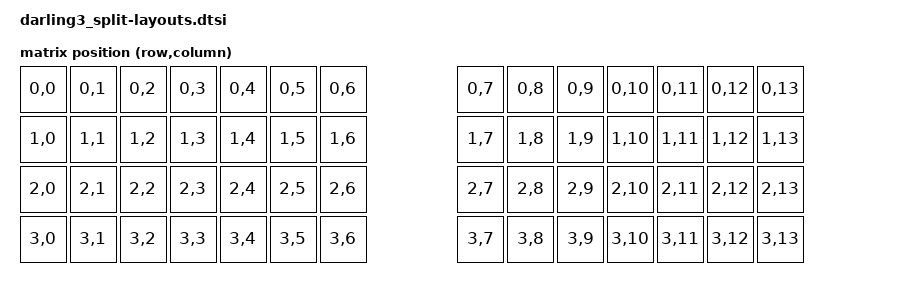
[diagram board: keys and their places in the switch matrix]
/* DarlingV2 - только мех-свичи 4×7, без HE */

#include <dt-bindings/zmk/matrix_transform.h>
#include <physical_layouts.dtsi>

/ {
    chosen {
        zmk,kscan = &kscan_darling;
        zmk,physical-layout = &physical_layout0;
    };

    /* Each half scans 4x7; the shared logical matrix is 4x14. */
    kscan_darling: kscan_darling0 {
        compatible = "zmk,kscan-gpio-matrix";
        wakeup-source;
        diode-direction = "col2row";
        /* col-gpios и row-gpios в overlay */
    };

    physical_layout0: physical_layout_0 {
        compatible = "zmk,physical-layout";
        display-name = "Darling3 Default";
        kscan = <&kscan_darling>;
        transform = <&default_transform>;
        
        /* Ordered like the keymap: left columns 0-6, then right 7-13. */
        keys =
            /* JSON rows 2 and 3 */
            <&key_physical_attrs 100 100   50 138 0   0   0>
            , <&key_physical_attrs 100 100 150 138 0   0   0>
            , <&key_physical_attrs 100 100 250 138 0   0   0>
            , <&key_physical_attrs 100 100 350 138 0   0   0>
            , <&key_physical_attrs 100 100 450 138 0   0   0>
            , <&key_physical_attrs 100 100 550 138 0   0   0>
            , <&key_physical_attrs 100 100 650 138 0   0   0>
            , <&key_physical_attrs 100 100  925 138 0   0   0>
            , <&key_physical_attrs 100 100 1025 138 0   0   0>
            , <&key_physical_attrs 100 100 1125 138 0   0   0>
            , <&key_physical_attrs 100 100 1225 138 0   0   0>
            , <&key_physical_attrs 100 100 1325 138 0   0   0>
            , <&key_physical_attrs 100 100 1425 138 0   0   0>
            , <&key_physical_attrs 100 100 1525 138 0   0   0>

            /* JSON rows 4 and 5 */
            , <&key_physical_attrs 100 100   50 238 0   0   0>
            , <&key_physical_attrs 100 100 150 238 0   0   0>
            , <&key_physical_attrs 100 100 250 238 0   0   0>
            , <&key_physical_attrs 100 100 350 238 0   0   0>
            , <&key_physical_attrs 100 100 450 238 0   0   0>
            , <&key_physical_attrs 100 100 550 238 0   0   0>
            , <&key_physical_attrs 100 100 650 238 0   0   0>
            , <&key_physical_attrs 100 100  925 238 0   0   0>
            , <&key_physical_attrs 100 100 1025 238 0   0   0>
            , <&key_physical_attrs 100 100 1125 238 0   0   0>
            , <&key_physical_attrs 100 100 1225 238 0   0   0>
            , <&key_physical_attrs 100 100 1325 238 0   0   0>
            , <&key_physical_attrs 100 100 1425 238 0   0   0>
            , <&key_physical_attrs 100 100 1525 238 0   0   0>

            /* JSON rows 6 and 7 */
            , <&key_physical_attrs 100 100   50 338 0   0   0>
            , <&key_physical_attrs 100 100 150 338 0   0   0>
            , <&key_physical_attrs 100 100 250 338 0   0   0>
            , <&key_physical_attrs 100 100 350 338 0   0   0>
            , <&key_physical_attrs 100 100 450 338 0   0   0>
            , <&key_physical_attrs 100 100 550 338 0   0   0>
            , <&key_physical_attrs 100 100 650 338 0 650 425>
            , <&key_physical_attrs 100 100  925 338 0   0   0>
            , <&key_physical_attrs 100 100 1025 338 0   0   0>
            , <&key_physical_attrs 100 100 1125 338 0   0   0>
            , <&key_physical_attrs 100 100 1225 338 0   0   0>
            , <&key_physical_attrs 100 100 1325 338 0   0   0>
            , <&key_physical_attrs 100 100 1425 338 0   0   0>
            , <&key_physical_attrs 100 100 1525 338 0 650 425>

            /* JSON rows 8 and 9 */
            , <&key_physical_attrs 100 100   50 438 0   0   0>
            , <&key_physical_attrs 100 100 150 438 0   0   0>
            , <&key_physical_attrs 100 100 250 438 0   0   0>
            , <&key_physical_attrs 100 100 350 438 0   0   0>
            , <&key_physical_attrs 100 100 450 438 0   0   0>
            , <&key_physical_attrs 100 100 550 438 0 650 425>
            , <&key_physical_attrs 100 100 650 438 0 650 425>
            , <&key_physical_attrs 100 100  925 438 0   0   0>
            , <&key_physical_attrs 100 100 1025 438 0   0   0>
            , <&key_physical_attrs 100 100 1125 438 0   0   0>
            , <&key_physical_attrs 100 100 1225 438 0   0   0>
            , <&key_physical_attrs 100 100 1325 438 0   0   0>
            , <&key_physical_attrs 100 100 1425 438 0 650 425>
            , <&key_physical_attrs 100 100 1525 438 0 650 425>
            ;
    };

    default_transform: default_transform {
        compatible = "zmk,matrix-transform";
        columns = <14>;
        rows = <4>;
        map = <
            RC(0,0) RC(0,1) RC(0,2) RC(0,3) RC(0,4) RC(0,5) RC(0,6) RC(0,7) RC(0,8) RC(0,9) RC(0,10) RC(0,11) RC(0,12) RC(0,13)
            RC(1,0) RC(1,1) RC(1,2) RC(1,3) RC(1,4) RC(1,5) RC(1,6) RC(1,7) RC(1,8) RC(1,9) RC(1,10) RC(1,11) RC(1,12) RC(1,13)
            RC(2,0) RC(2,1) RC(2,2) RC(2,3) RC(2,4) RC(2,5) RC(2,6) RC(2,7) RC(2,8) RC(2,9) RC(2,10) RC(2,11) RC(2,12) RC(2,13)
            RC(3,0) RC(3,1) RC(3,2) RC(3,3) RC(3,4) RC(3,5) RC(3,6) RC(3,7) RC(3,8) RC(3,9) RC(3,10) RC(3,11) RC(3,12) RC(3,13)
        >;
    };
};
